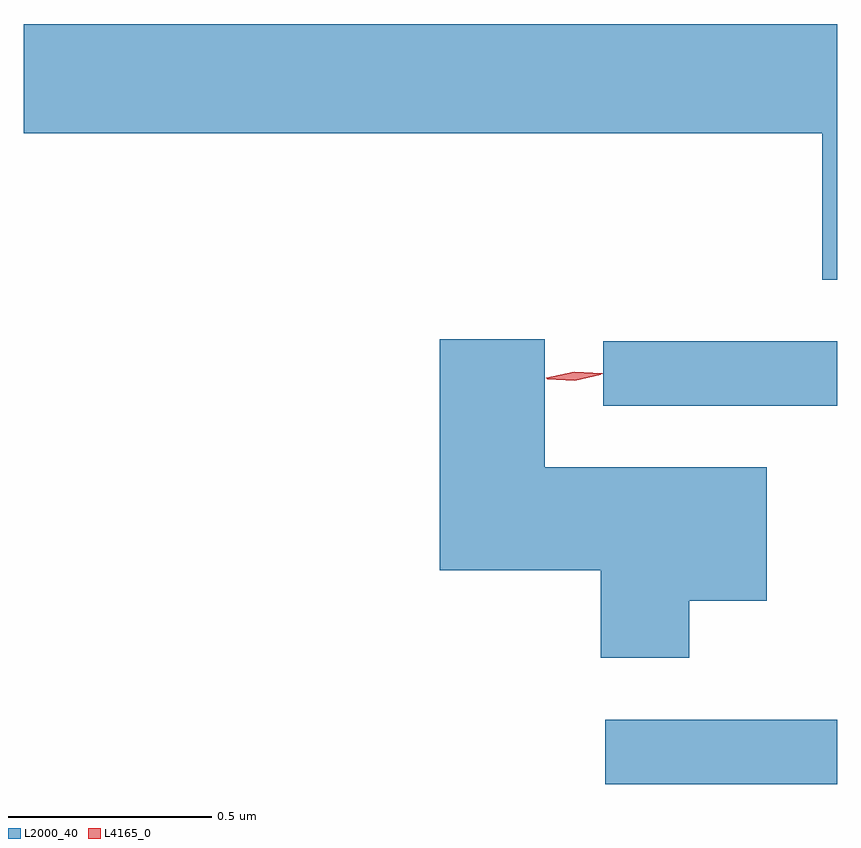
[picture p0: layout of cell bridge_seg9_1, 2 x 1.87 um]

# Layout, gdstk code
import gdstk
lib = gdstk.Library(unit=1e-6, precision=1e-09)
def R(c, l, rs):  # rectangles x0, y0, x1, y1
    for r in rs: c.add(gdstk.rectangle(r[:2], r[2:], *l))
def P(c, l, *ps):  # polygons
    for p in ps: c.add(gdstk.Polygon(p, *l))
L2000_40 = (2000, 40)
L4165_0 = (4165, 0)

bridge_seg9_1 = lib.new_cell('bridge_seg9_1')
R(bridge_seg9_1, L2000_40, [(1790.763,2076.796,1791.333,2076.954), (1790.758,2077.726,1791.333,2077.884)])
P(bridge_seg9_1, L2000_40, [(1791.333,2078.664),(1789.333,2078.664),(1789.333,2078.396),(1791.296,2078.396),(1791.296,2078.036),(1791.333,2078.036)],
  [(1790.969,2077.246),(1791.159,2077.246),(1791.159,2077.574),(1790.614,2077.574),(1790.614,2077.889),(1790.356,2077.889),(1790.356,2077.321),(1790.751,2077.321),(1790.751,2077.106),(1790.969,2077.106)])
P(bridge_seg9_1, L4165_0, [(1790.687,2077.789),(1790.618,2077.793),(1790.617,2077.794),(1790.618,2077.794),(1790.686,2077.809),(1790.755,2077.805),(1790.756,2077.804),(1790.755,2077.804)],
  [(1790.687,2077.787),(1790.62,2077.791),(1790.62,2077.792),(1790.62,2077.792),(1790.685,2077.807),(1790.752,2077.803),(1790.752,2077.803),(1790.752,2077.802)])

lib.write_gds('bridge_seg9_1.gds')
